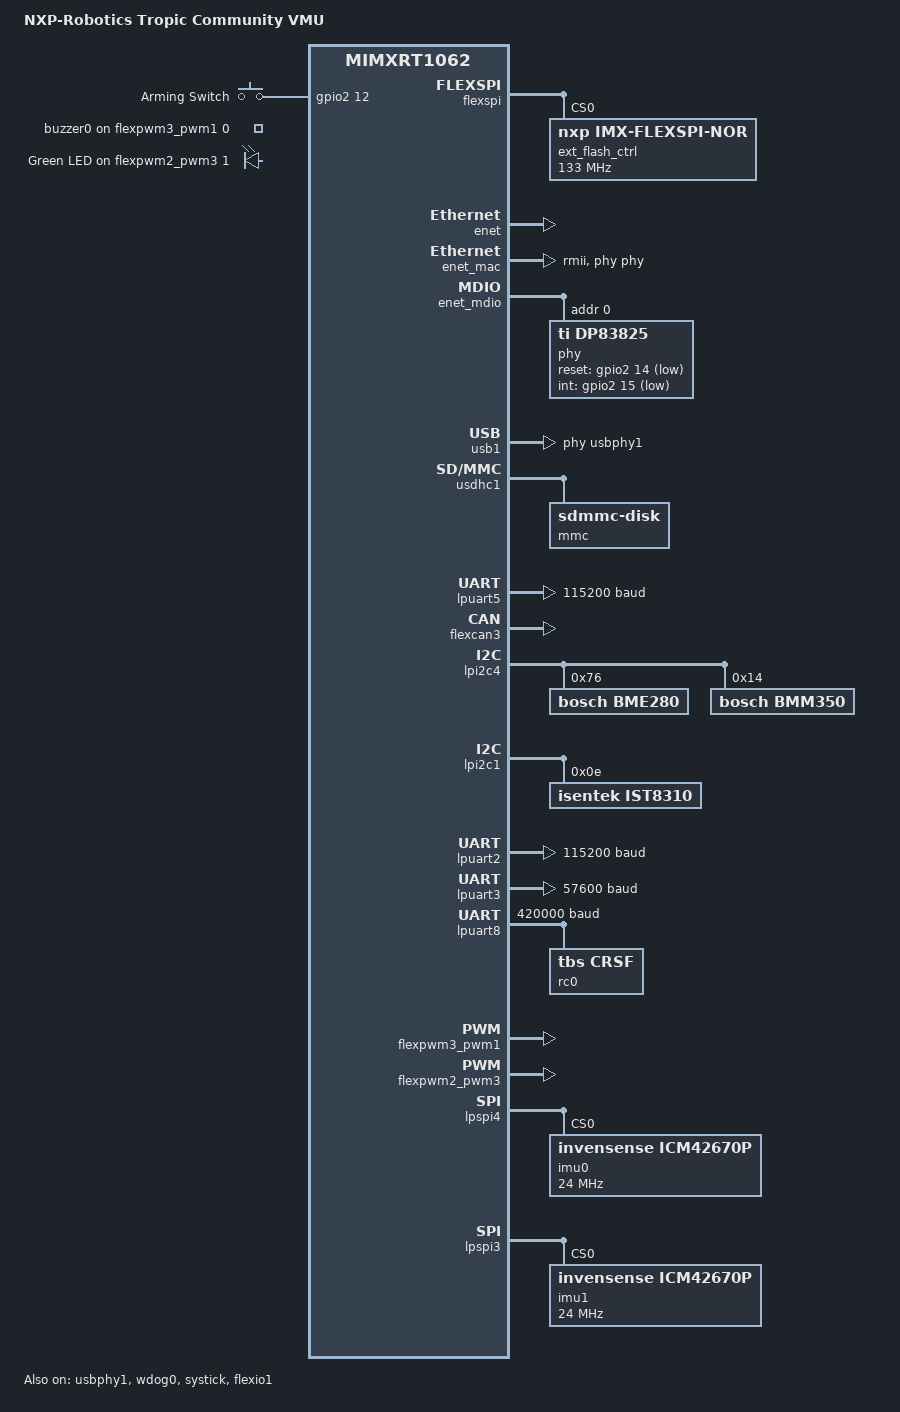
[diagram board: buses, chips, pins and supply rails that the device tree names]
/* SPDX-License-Identifier: Apache-2.0 */
/*
 * Copyright (c) 2020, Bernhard Kraemer
 * Copyright 2026 CogniPilot Foundation
 */

/*
 * NXP-Robotics "Tropic Community VMU" (Teensy 4.1 / MIMXRT1062DVJ6B based
 * carrier board): https://github.com/NXP-Robotics/TropicCommunityVMU
 *
 * This board is built on top of the upstream "teensy41" board (same MCU
 * module, same flash chip, same teensy-loader-cli flashing) - the base
 * SoC/flash/USB/network/SD sections below are taken unmodified from that
 * board's teensy40.dts/teensy41.dts. Everything past that point is this
 * carrier board's own sensors/actuators/connectors, built the way the
 * sibling "mr_vmu_tropic" board in this same repo does it: hardware wired
 * here in the board's own dts/board.c, with the app (cerebri) only
 * mapping generic aliases onto these chip labels.
 *
 * Sensor set and every pin below are taken from the board owner's actual
 * schematic ("Tropic-VMU_Modified_Mag_same_IMU" rev C) plus the physical
 * Teensy 4.1 pin number behind each net (confirmed against PJRC's own
 * teensy4/core_pins.h, ARDUINO_TEENSY41 block), which was then looked up in
 * hal_nxp's mimxrt1062dvl6a-pinctrl.dtsi to get the exact peripheral/alt-
 * function for each pad. Differs from the stock BOM (PX4's tropic-community
 * port) as follows:
 *   - Two identical ICM-42670-P IMUs (pin/register compatible with the
 *     ICM-42688-P footprint they replace) instead of ICM-42688-P + BMI088
 *   - Bosch BME280 barometer instead of BMP388 (I2C 0x76)
 *   - Bosch BMM350 magnetometer instead of BMM150 (I2C 0x14)
 *   - Both baro and mag share one internal I2C bus ("BARO_MAG_SDA/SCL")
 *
 * Net -> Teensy pin -> pad -> peripheral, as wired below:
 *   SPI1_CS/SCK/MISO/MOSI  10/13/12/11  B0_00/03/01/02       -> lpspi4 (imu0)
 *   SPI2_CS/SCK/MISO/MOSI  38/27/39/26  AD_B1_12/15/13/14    -> lpspi3 (imu1)
 *   BARO_MAG_SCL/SDA       24/25        AD_B0_12/13          -> lpi2c4
 *   EXT_SCL/SDA            19/18        AD_B1_00/01          -> lpi2c1
 *   CAN_TX/RX              31/30        EMC_36/37            -> flexcan3
 *   PWM_1/2/3/5/6      4/33/5/2/3   EMC_06/07/08/04/05    -> flexio1 (dshot)
 *   GPS_TX/RX               14/15        AD_B1_02/03          -> lpuart2
 *   TELEM_TX/RX/RTS/CTS 17/16/41/40  AD_B1_06/07/05/04     -> lpuart3
 *   DEBUG_TX/RX             35/34        B1_12/13             -> lpuart5
 *   RC_INPUT                20           AD_B1_10 (lpuart8_tx) -> lpuart8
 *                                        (single-wire; RX pin doubles as
 *                                        ADC_A below, so RX is NOT wired)
 *
 * All of the above line up exactly with what the upstream "teensy41"
 * board's default pinctrl already wires those peripherals to (see
 * tropic_community-pinctrl.dtsi's own "Teensy-Pins" comments, carried
 * over unmodified from that board), so none of them need a pinctrl
 * override except lpuart3 (its default pinctrl only covers TX/RX, not
 * the RTS/CTS pair this board actually has wired) and lpuart8 (single-
 * wire, TX pin only).
 *
 * The default zephyr,console/shell-uart is lpuart5 (the DEBUG connector),
 * not lpuart6 (the "teensy41" board's own default), since lpuart6's pins
 * (Teensy 0/1) are LED_R/LED_B on this board (see below).
 *
 * PWM_4 (Teensy pin 9, GPIO_B0_11) is a plain FlexPWM channel, not FlexIO,
 * so it is not usable by this repo's "nxp,flexio-dshot" driver and is left
 * unwired (6th ESC output unavailable).
 *
 * ARM safety switch, BUZZER and LED_G are wired below the same way
 * mr_vmu_tropic does it, since cerebri's drivers/sense/safety/main.c and
 * CEREBRI_ACTUATE_SOUND expect exactly those devicetree shapes regardless
 * of board:
 *   - ARM (Teensy pin 32, GPIO_B0_12 = GPIO2 IO12): a /gpio_keys node
 *     (cerebri's drivers/sense/safety/main.c does
 *     INPUT_CALLBACK_DEFINE(DEVICE_DT_GET(DT_PATH(gpio_keys)), ...) and
 *     filters on INPUT_KEY_0)
 *   - BUZZER (Teensy pin 29, GPIO_EMC_31, FlexPWM3 submodule1 channel A -
 *     matches PX4's TONE_ALARM_CHANNEL): a "pwm-leds" child node, same
 *     pattern as mr_vmu_tropic's &flexpwm1_pwm0/buzzer0
 *   - LED_G (Teensy pin 37, GPIO_B1_03, FlexPWM2 submodule3 channel B):
 *     a "pwm-leds" child node, same pattern as the buzzer
 *
 * LED_R/LED_B (Teensy pins 0/1, AD_B0_02/03) are driven via the XBAR1
 * crossbar into Quad Timer 4 (matches PX4's PWM_LED_RED/BLUE) - no
 * devicetree binding covers that, so board.c does the one-time XBAR/
 * GPR6/QTMR4 register setup in C (every value in that file is traced to
 * the i.MX RT1060 Reference Manual, not PX4's NuttX-specific macros) and
 * exposes tropic_community_led_red_set()/_blue_set(). Those two functions
 * aren't hooked up to anything yet - mr_vmu_tropic's own default cerebri
 * config doesn't drive its onboard RGB LED with any arm/safety/mode logic
 * either (CEREBRI_RDD2_LIGHTING and CEREBRI_ACTUATE_LED_ARRAY are both
 * disabled there too), so this matches it rather than falling short.
 *
 * RC_INPUT (Teensy pin 20, lpuart8 single-wire, RX pin doubles as ADC_A so
 * only TX is pinctrl'd) has a "tbs,crsf" child node below, matching
 * mr_vmu_tropic's own lpuart8/sbus0 node - the receiver protocol is a
 * property of whatever module actually gets plugged in here, not something
 * this board's own schematic can tell us, so change compatible/current-speed
 * to "futaba,sbus"/100000 (inverted) instead if the real receiver is SBUS.
 *
 * Not wired, deferred:
 *   - ADC_A/ADC_V (Teensy pins 21/22, AD_B1_11/AD_B1_08, ADC1_IN0/IN13):
 *     cerebri's drivers/sense/power/main.c wants ONE devicetree sensor
 *     device (alias power0) that reports both SENSOR_CHAN_VOLTAGE and
 *     SENSOR_CHAN_CURRENT - Zephyr doesn't have a stock combined ADC-
 *     voltage+current sensor binding, so this needs custom driver work.
 */

/dts-v1/;

#include <nxp/imxrt/nxp_rt1060.dtsi>
#include "tropic_community-pinctrl.dtsi"
#include <freq.h>
#include <mem.h>
#include <zephyr/dt-bindings/input/input-event-codes.h>
#include <zephyr/dt-bindings/pwm/pwm.h>

/ {
	model = "NXP-Robotics Tropic Community VMU";
	compatible = "nxp,mimxrt1062";

	chosen {
		zephyr,flash-controller = &ext_flash_ctrl;
		zephyr,flash = &w25q64jvxgim;
		/* teensy41's own default (&ocram, the 256K FlexRAM-carved
		 * region) is too small for rdd2's full stack (casadi-generated
		 * math, cmsis-dsp, networking, log_sdcard); &ocram2 is a
		 * separate, dedicated 512K OCRAM block this chip also has.
		 */
		zephyr,sram = &ocram2;
		zephyr,itcm = &itcm;
		zephyr,dtcm = &dtcm;
		/* Reverted back to USB CDC-ACM console for this test: the
		 * lpuart5 switch was a separate, uncontrolled variable that
		 * would confound a clean before/after test of the q0*dq vs
		 * dq*q0 quaternion-formula hang. Restoring the exact original
		 * condition (console on USB) with only the formula and the
		 * EHCI bounded-retry mitigation varying.
		 */
		zephyr,console = &cdc_acm_uart0;
		zephyr,shell-uart = &cdc_acm_uart0;
		zephyr,canbus = &flexcan3;
	};

	/* DELETED: "board_led" / led0 (Teensy pin 13, GPIO_B0_03) was
	 * inherited from the upstream teensy41 board's own default LED
	 * definition, where pin 13 is genuinely free. On THIS carrier
	 * board it isn't: the schematic's own SPI1_SCK net (feeding imu0,
	 * see &lpspi4 below) is wired to that exact same physical pad.
	 * Zephyr's gpio-leds driver configuring this pin as a plain GPIO
	 * output at boot silently stole the pad away from its LPSPI4_SCK
	 * alternate function, corrupting the SPI clock for imu0 - this was
	 * the actual root cause of an extremely long-running mystery where
	 * imu0 (and only imu0, never imu1 on a different, non-conflicting
	 * bus) would reliably work for its first ~2 register accesses and
	 * then silently stop responding for the rest of boot, on every
	 * single unit tested. Do not reintroduce an LED on this pin.
	 */

	/* ARM safety switch, Teensy pin 32 (GPIO_B0_12 = GPIO2 IO12) */
	gpio_keys {
		compatible = "gpio-keys";

		arming_button: button_0 {
			label = "Arming Switch";
			gpios = <&gpio2 12 (GPIO_PULL_DOWN | GPIO_ACTIVE_HIGH)>;
			zephyr,code = <INPUT_KEY_0>;
		};
	};

	pwmleds {
		compatible = "pwm-leds";

		/* Buzzer, Teensy pin 29 (GPIO_EMC_31, FlexPWM3 submodule1 ch A) */
		buzzer0: buzzer0 {
			pwms = <&flexpwm3_pwm1 0 PWM_HZ(50) PWM_POLARITY_NORMAL>;
		};

		/* LED_G, Teensy pin 37 (GPIO_B1_03, FlexPWM2 submodule3 ch B) */
		green_pwm_led: led_pwm_1 {
			pwms = <&flexpwm2_pwm3 1 PWM_MSEC(20) PWM_POLARITY_NORMAL>;
			label = "Green LED";
		};
	};
};

/* WINBOND 8MB flash memory, same module as the upstream teensy41 board */
&flexspi {
	status = "okay";

	reg = <0x402a8000 0x4000>, <0x60000000 DT_SIZE_M(8)>;

	/* Controller node with the flash as a child, as upstream teensy41.dts:
	 * Zephyr derives FLASH_BASE_ADDRESS (0x60000000) from the chosen flash
	 * node's grandparent being the FlexSPI controller. With the flash
	 * directly under &flexspi it silently fell back to 0x0, and the image
	 * was linked where the boot ROM never looks.
	 */
	ext_flash_ctrl: flash-controller@0 {
		compatible = "nxp,imx-flexspi-nor";
		size = <DT_SIZE_M(8 * 8)>;
		reg = <0>;
		spi-max-frequency = <DT_FREQ_M(133)>;
		status = "okay";
		jedec-id = [ef 70 17];

		#address-cells = <1>;
		#size-cells = <1>;
		ranges = <0x0 0x60000000 DT_SIZE_M(8)>;

		w25q64jvxgim: flash@0 {
			compatible = "soc-nv-flash";
			reg = <0x0 DT_SIZE_M(8)>;
			erase-block-size = <4096>;
			write-block-size = <1>;
		};
	};
};

&enet {
	status = "okay";
	pinctrl-0 = <&pinmux_enet>;
	pinctrl-names = "default";
};

&enet_mac {
	status = "okay";
	nxp,unique-mac;
	phy-connection-type = "rmii";
	phy-handle = <&phy>;
};

&enet_mdio {
	status = "okay";
	pinctrl-0 = <&pinmux_enet_mdio>;
	pinctrl-names = "default";

	phy: phy@0 {
		status = "okay";
		compatible = "ti,dp83825";
		reg = <0>;
		reset-gpios = <&gpio2 14 GPIO_ACTIVE_LOW>;
		int-gpios = <&gpio2 15 GPIO_ACTIVE_LOW>;
		ti,interface-type = "rmii";
		default-speeds = "100BASE Full-Duplex";
	};
};

/* The USB1 EHCI controller alone can't drive the bus - it needs its PHY
 * (disabled by default in the SoC dtsi) enabled and linked via phy-handle,
 * or the host sees the device attach but every control transfer (even the
 * initial descriptor read) times out. Calibration values match NXP's own
 * mimxrt1060_evk board (same usbphy IP block, same RT1060 family).
 */
&usbphy1 {
	status = "okay";
	tx-d-cal = <12>;
	tx-cal-45-dp-ohms = <6>;
	tx-cal-45-dm-ohms = <6>;
};

zephyr_udc0: &usb1 {
	status = "okay";
	phy-handle = <&usbphy1>;

	cdc_acm_uart0: cdc_acm_uart0 {
		compatible = "zephyr,cdc-acm-uart";
	};
};

&usdhc1 {
	status = "okay";
	no-1-8-v;
	pinctrl-0 = <&pinmux_usdhc1>;
	pinctrl-1 = <&pinmux_usdhc1_slow>;
	pinctrl-2 = <&pinmux_usdhc1_med>;
	pinctrl-3 = <&pinmux_usdhc1_fast>;
	pinctrl-names = "default", "slow", "med", "fast";

	mmc {
		compatible = "zephyr,sdmmc-disk";
		disk-name = "SD";
		status = "okay";
	};
};

&edma0 {
	status = "okay";
};

/* Isolated re-test: ONLY the watchdog, on its own, to check whether it alone
 * (not the console switch, not the HAL fix - both already ruled out
 * individually) is what stopped the SD logging hang in the earlier build.
 */
&wdog0 {
	status = "okay";
};
&systick {
	status = "okay";
};

/* DEBUG connector / console, Teensy pins 35 (TX) / 34 (RX) */
&lpuart5 {
	status = "okay";
	pinctrl-0 = <&pinmux_lpuart5>;
	pinctrl-1 = <&pinmux_lpuart5_sleep>;
	pinctrl-names = "default", "sleep";
	current-speed = <115200>;
};

/* CAN connector (TJA1051 transceiver, net CAN_TX/CAN_RX, Teensy pins 31/30) */
&flexcan3 {
	status = "okay";
	pinctrl-0 = <&pinmux_flexcan3>;
	pinctrl-names = "default";
};

/* Internal BARO_MAG_SDA/SCL bus (Teensy pins 25/24): BME280 barometer +
 * BMM350 magnetometer
 */
&lpi2c4 {
	status = "okay";
	pinctrl-0 = <&pinmux_lpi2c4>;
	pinctrl-names = "default";

	bme280: bme280@76 {
		compatible = "bosch,bme280";
		reg = <0x76>;
	};

	bmm350: bmm350@14 {
		compatible = "bosch,bmm350";
		reg = <0x14>;
	};
};

/* External EXT_SDA/EXT_SCL connector, Teensy pins 18/19 - also the GPS
 * connector's EXT_SCL/EXT_SDA pins (see the GPS connector schematic:
 * BM10B-GHS-TBT pins 4/5), so the compass built into a Pixhawk-format
 * GPS+compass module (e.g. Holybro M10's IST8310/IST8308) is reachable
 * here, same bus mr_vmu_tropic.dts uses for its own external ist8310.
 */
&lpi2c1 {
	status = "okay";
	pinctrl-0 = <&pinmux_lpi2c1>;
	pinctrl-names = "default";

	ist8310: ist8310@e {
		compatible = "isentek,ist8310";
		reg = <0xe>;
	};
};

/* GPS connector, Teensy pins 15/14 */
&lpuart2 {
	status = "okay";
	pinctrl-0 = <&pinmux_lpuart2>;
	pinctrl-1 = <&pinmux_lpuart2_sleep>;
	pinctrl-names = "default", "sleep";
	current-speed = <115200>;
};

/* Telemetry radio connector, Teensy pins 17/16/41/40 (TX/RX/RTS/CTS) */
&lpuart3 {
	status = "okay";
	current-speed = <57600>;
	pinctrl-0 = <&pinmux_lpuart3_telem>;
	pinctrl-names = "default";
	hw-flow-control;
};

/* RC receiver input, Teensy pin 20, single-wire (RX pin doubles as ADC_A).
 * CRSF, matching mr_vmu_tropic.dts's own lpuart8 node - change compatible/
 * current-speed to "futaba,sbus"/100000 (and mark the UART inverted) if the
 * receiver actually plugged in here is SBUS, not CRSF.
 */
&lpuart8 {
	status = "okay";
	pinctrl-0 = <&pinmux_lpuart8_rc_singlewire>;
	pinctrl-names = "default";
	single-wire;
	current-speed = <420000>;

	rc0: rc {
		compatible = "tbs,crsf";

		chan_1 {
			channel = <1>;
			type = <INPUT_EV_ABS>;
			zephyr,code = <1>;
		};
		chan_2 {
			channel = <2>;
			type = <INPUT_EV_ABS>;
			zephyr,code = <2>;
		};
		chan_3 {
			channel = <3>;
			type = <INPUT_EV_ABS>;
			zephyr,code = <3>;
		};
		chan_4 {
			channel = <4>;
			type = <INPUT_EV_ABS>;
			zephyr,code = <4>;
		};
		chan_5 {
			channel = <5>;
			type = <INPUT_EV_ABS>;
			zephyr,code = <5>;
		};
		chan_6 {
			channel = <6>;
			type = <INPUT_EV_ABS>;
			zephyr,code = <6>;
		};
		chan_7 {
			channel = <7>;
			type = <INPUT_EV_ABS>;
			zephyr,code = <7>;
		};
		chan_8 {
			channel = <8>;
			type = <INPUT_EV_ABS>;
			zephyr,code = <8>;
		};
		chan_9 {
			channel = <9>;
			type = <INPUT_EV_ABS>;
			zephyr,code = <9>;
		};
		chan_10 {
			channel = <10>;
			type = <INPUT_EV_ABS>;
			zephyr,code = <10>;
		};
		chan_11 {
			channel = <11>;
			type = <INPUT_EV_ABS>;
			zephyr,code = <11>;
		};
		chan_12 {
			channel = <12>;
			type = <INPUT_EV_ABS>;
			zephyr,code = <12>;
		};
		chan_13 {
			channel = <13>;
			type = <INPUT_EV_ABS>;
			zephyr,code = <13>;
		};
		chan_14 {
			channel = <14>;
			type = <INPUT_EV_ABS>;
			zephyr,code = <14>;
		};
		chan_15 {
			channel = <15>;
			type = <INPUT_EV_ABS>;
			zephyr,code = <15>;
		};
		chan_16 {
			channel = <16>;
			type = <INPUT_EV_ABS>;
			zephyr,code = <16>;
		};
	};
};

/* Buzzer PWM, Teensy pin 29 (GPIO_EMC_31, FlexPWM3 submodule1 channel A) */
&flexpwm3_pwm1 {
	status = "okay";
	pinctrl-0 = <&pinmux_flexpwm3_pwm1_buzzer>;
	pinctrl-names = "default";
	nxp,prescaler = <128>;
};

/* LED_G PWM, Teensy pin 37 (GPIO_B1_03, FlexPWM2 submodule3 channel B) */
&flexpwm2_pwm3 {
	status = "okay";
	pinctrl-0 = <&pinmux_flexpwm2_pwm3_g>;
	pinctrl-names = "default";
	nxp,prescaler = <16>;
};

/* IMU 0, schematic net "SPI1_*", Teensy pins 10 (CS) / 13 (SCK) /
 * 12 (MISO) / 11 (MOSI)
 */
&lpspi4 {
	status = "okay";
	pinctrl-0 = <&pinmux_lpspi4>;
	pinctrl-names = "default";

	imu0: icm42670p@0 {
		compatible = "invensense,icm42670p";
		reg = <0>;
		spi-max-frequency = <24000000>;
		accel-hz = <100>;
		accel-fs = <16>;
		gyro-hz = <100>;
		gyro-fs = <2000>;
	};
};

/* IMU 1, schematic net "SPI2_*", Teensy pins 38 (CS) / 27 (SCK) /
 * 39 (MISO) / 26 (MOSI)
 */
&lpspi3 {
	status = "okay";
	pinctrl-0 = <&pinmux_lpspi3>;
	pinctrl-names = "default";

	imu1: icm42670p@0 {
		compatible = "invensense,icm42670p";
		reg = <0>;
		spi-max-frequency = <24000000>;
		accel-hz = <100>;
		accel-fs = <16>;
		gyro-hz = <100>;
		gyro-fs = <2000>;
	};
};

/* 5 DShot-capable ESC outputs: PWM_1 (pin4), PWM_2 (pin33), PWM_3 (pin5),
 * PWM_5 (pin2), PWM_6 (pin3). PWM_4 (pin9) is not FlexIO-driven, see the
 * header comment.
 */
&flexio1 {
	status = "okay";

	dshot: dshot {
		compatible = "nxp,flexio-dshot";
		pinctrl-0 = <&pinmux_dshot_tropic_community>;
		pinctrl-names = "default";
		status = "okay";
		speed = <600>;

		ch1 {
			pin-id = <6>; /* GPIO_EMC_06 / PWM_1 / Teensy pin 4 */
		};

		ch2 {
			pin-id = <7>; /* GPIO_EMC_07 / PWM_2 / Teensy pin 33 */
		};

		ch3 {
			pin-id = <8>; /* GPIO_EMC_08 / PWM_3 / Teensy pin 5 */
		};

		ch4 {
			pin-id = <4>; /* GPIO_EMC_04 / PWM_5 / Teensy pin 2 */
		};

		ch5 {
			/* GPIO_EMC_05 / PWM_6 / Teensy pin 3, unused by default */
			pin-id = <5>;
		};
	};
};
